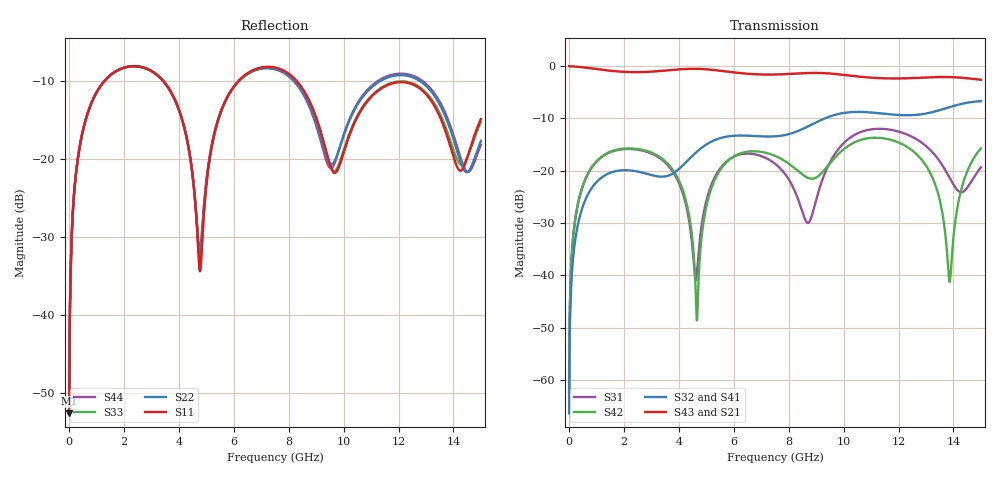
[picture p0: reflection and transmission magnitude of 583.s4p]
! Created with skrf 1.8.0 (http://scikit-rf.org).
# GHz S RI R 50.0
!freq ReS11 ImS11 ReS12 ImS12 ReS13 ImS13
! ReS14 ImS14
! ReS21 ImS21 ReS22 ImS22 ReS23 ImS23
! ReS24 ImS24
! ReS31 ImS31 ReS32 ImS32 ReS33 ImS33
! ReS34 ImS34
! ReS41 ImS41 ReS42 ImS42 ReS43 ImS43
! ReS44 ImS44
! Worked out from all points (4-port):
!   2499 points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, 5 MHz to 15 GHz, reference 50 ohm
!   strongest paths, dB at 5 MHz, 3.476 GHz, 7.19 GHz, 11.1 GHz, 15 GHz:
!     S43: 0.0, -0.9, -1.6, -2.2, -2.6
!     S21: 0.0, -0.9, -1.6, -2.2, -2.6
!     S32: -66.4, -21.1, -13.5, -8.9, -6.7
!     S41: -66.4, -21.2, -13.5, -8.9, -6.7
!     S42: -62.4, -18.1, -16.6, -13.7, -15.7
!     S31: -62.4, -18.3, -17.6, -12.0, -19.3
!   lowest |S11| = -52.6 dB at 5 MHz (marker M1), VSWR 1.00, Z = 50.2 + j0.143 ohm
!   |S11| at or under -10 dB: start of sweep to 1.304 GHz; 3.424 GHz to 6.186 GHz (2.762 GHz wide, 57.5 % of centre); 8.28 GHz to end of sweep
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0.005  0.00188 0.00142  0.9981 -0.00365  9.53e-05 0.000755  -9.25e-05 -0.000472
       0.9981 -0.00365  0.00188 0.00142  -9.25e-05 -0.000472  9.54e-05 0.000755
       9.53e-05 0.000755  -9.25e-05 -0.000472  0.00188 0.00142  0.9981 -0.00365
       -9.25e-05 -0.000472  9.54e-05 0.000755  0.9981 -0.00365  0.00188 0.00142
1.469362  0.2952 0.1652  0.4928 -0.7593  0.1379 0.0573  -0.0947 0.00358
          0.4928 -0.7593  0.2939 0.1662  -0.0948 0.00371  0.141 0.0525
          0.1379 0.0573  -0.0948 0.00371  0.2951 0.1652  0.4928 -0.7592
          -0.0947 0.00358  0.141 0.0525  0.4928 -0.7592  0.294 0.1661
4.658191  0.0213 -0.0308  -0.93 -0.1462  0.00965 0.00444  -0.02 0.1508
          -0.93 -0.1462  0.0269 -0.0275  -0.0182 0.151  -0.00366 0.000654
          0.00965 0.00444  -0.0182 0.151  0.0213 -0.0311  -0.9299 -0.1465
          -0.02 0.1508  -0.00366 0.000654  -0.9299 -0.1465  0.027 -0.0278
5.721134  0.1611 0.1769  -0.7488 0.4776  0.108 0.056  0.1381 0.1594
          -0.7488 0.4776  0.1643 0.1748  0.1403 0.1581  0.1067 0.0539
          0.108 0.056  0.1403 0.1581  0.1597 0.1766  -0.7492 0.4774
          0.1381 0.1594  0.1067 0.0539  -0.7492 0.4774  0.1646 0.174
9.635265  0.0797 -0.0187  0.8375 0.0991  0.0274 0.1356  0.036 -0.3373
          0.8375 0.0991  0.0939 0.00836  0.0285 -0.3377  -0.038 0.1234
          0.0274 0.1356  0.0285 -0.3377  0.0825 -0.0143  0.8377 0.0976
          0.036 -0.3373  -0.038 0.1234  0.8377 0.0976  0.0895 0.014
13.86203  0.106 -0.0647  -0.642 -0.455  -0.0679 -0.0523  -0.2322 0.3318
          -0.642 -0.455  0.1176 -0.1063  -0.2205 0.3402  -0.00864 0.000385
          -0.0679 -0.0523  -0.2205 0.3402  0.1152 -0.0702  -0.6387 -0.4572
          -0.2322 0.3318  -0.00864 0.000385  -0.6387 -0.4572  0.1213 -0.115
15  0.1418 0.1104  -0.7311 0.1061  0.0527 0.0941  0.0892 0.4525
    -0.7311 0.1061  0.1127 0.065  0.1052 0.4499  0.132 0.0966
    0.0527 0.0941  0.1052 0.4499  0.1416 0.0967  -0.7332 0.102
    0.0892 0.4525  0.132 0.0966  -0.7332 0.102  0.1096 0.0565
